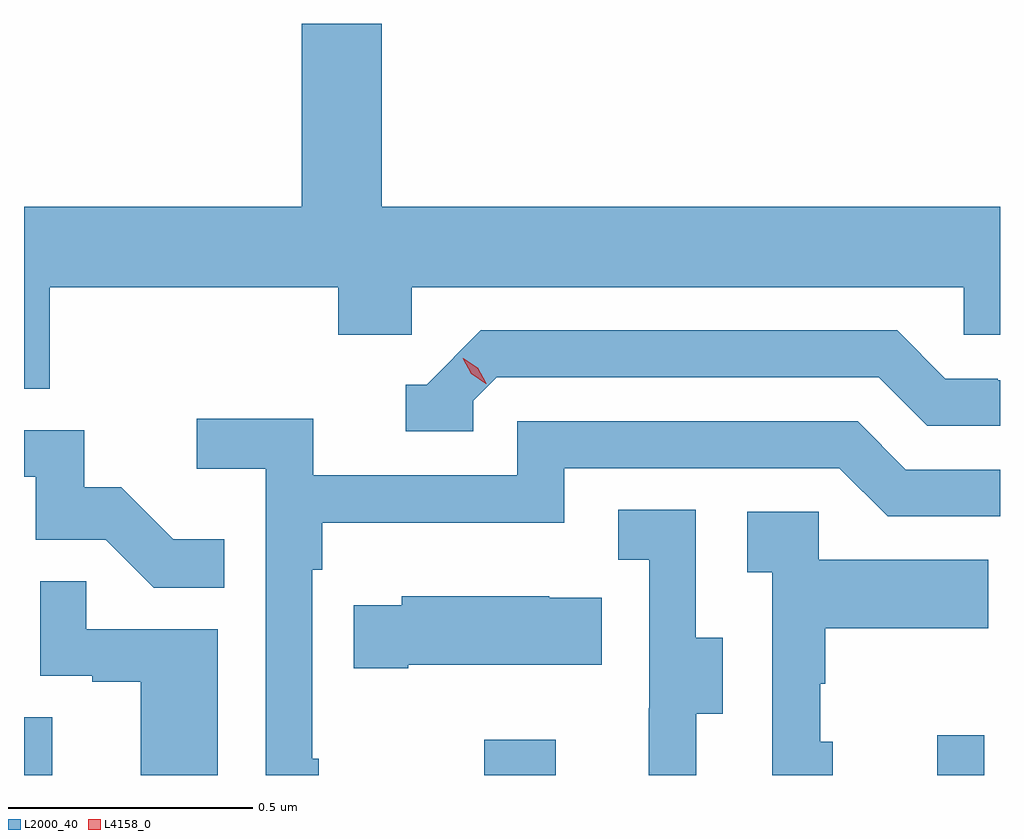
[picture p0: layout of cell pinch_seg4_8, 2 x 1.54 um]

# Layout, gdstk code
import gdstk
lib = gdstk.Library(unit=1e-6, precision=1e-09)
def R(c, l, rs):  # rectangles x0, y0, x1, y1
    for r in rs: c.add(gdstk.rectangle(r[:2], r[2:], *l))
def P(c, l, *ps):  # polygons
    for p in ps: c.add(gdstk.Polygon(p, *l))
L2000_40 = (2000, 40)
L4158_0 = (4158, 0)

pinch_seg4_8 = lib.new_cell('pinch_seg4_8')
R(pinch_seg4_8, L2000_40, [(1099.503,827.788,1099.561,827.906), (1100.446,827.788,1100.593,827.86), (1101.374,827.788,1101.471,827.869)])
P(pinch_seg4_8, L2000_40, [(1099.556,828.788),(1100.147,828.788),(1100.147,828.69),(1100.298,828.69),(1100.298,828.788),(1101.429,828.788),(1101.429,828.69),(1101.503,828.69),(1101.503,828.952),(1100.236,828.952),(1100.236,829.327),(1100.072,829.327),(1100.072,828.952),(1099.503,828.952),(1099.503,828.58),(1099.556,828.58)],
  [(1100.424,828.555),(1100.472,828.603),(1101.255,828.603),(1101.354,828.504),(1101.503,828.504),(1101.503,828.597),(1101.498,828.597),(1101.498,828.6),(1101.391,828.6),(1101.292,828.699),(1100.439,828.699),(1100.328,828.588),(1100.285,828.588),(1100.285,828.492),(1100.424,828.492)],
  [(1100.107,827.821),(1100.094,827.821),(1100.094,828.209),(1100.114,828.209),(1100.114,828.305),(1100.61,828.305),(1100.61,828.417),(1101.174,828.417),(1101.273,828.318),(1101.503,828.318),(1101.503,828.414),(1101.31,828.414),(1101.211,828.513),(1100.514,828.513),(1100.514,828.402),(1100.096,828.402),(1100.096,828.518),(1099.857,828.518),(1099.857,828.416),(1099.998,828.416),(1099.998,827.788),(1100.107,827.788)],
  [(1099.913,828.271),(1099.809,828.271),(1099.702,828.378),(1099.626,828.378),(1099.626,828.495),(1099.503,828.495),(1099.503,828.399),(1099.527,828.399),(1099.527,828.27),(1099.671,828.27),(1099.769,828.172),(1099.913,828.172)],
  [(1100.881,827.914),(1100.935,827.914),(1100.935,828.069),(1100.88,828.069),(1100.88,828.332),(1100.721,828.332),(1100.721,828.229),(1100.784,828.229),(1100.784,827.925),(1100.783,827.925),(1100.783,827.788),(1100.881,827.788)],
  [(1101.16,827.856),(1101.135,827.856),(1101.135,827.975),(1101.145,827.975),(1101.145,828.089),(1101.479,828.089),(1101.479,828.229),(1101.132,828.229),(1101.132,828.327),(1100.985,828.327),(1100.985,828.203),(1101.036,828.203),(1101.036,827.788),(1101.16,827.788)],
  [(1099.9,828.087),(1099.631,828.087),(1099.631,828.185),(1099.536,828.185),(1099.536,827.991),(1099.643,827.991),(1099.643,827.979),(1099.742,827.979),(1099.742,827.788),(1099.9,827.788)],
  [(1100.29,828.014),(1100.687,828.014),(1100.687,828.151),(1100.579,828.151),(1100.579,828.154),(1100.277,828.154),(1100.277,828.136),(1100.179,828.136),(1100.179,828.007),(1100.29,828.007)])
P(pinch_seg4_8, L4158_0, [(1100.449,828.59),(1100.419,828.61),(1100.402,828.642),(1100.402,828.642),(1100.403,828.642),(1100.433,828.623),(1100.45,828.591),(1100.45,828.59)])

lib.write_gds('pinch_seg4_8.gds')
